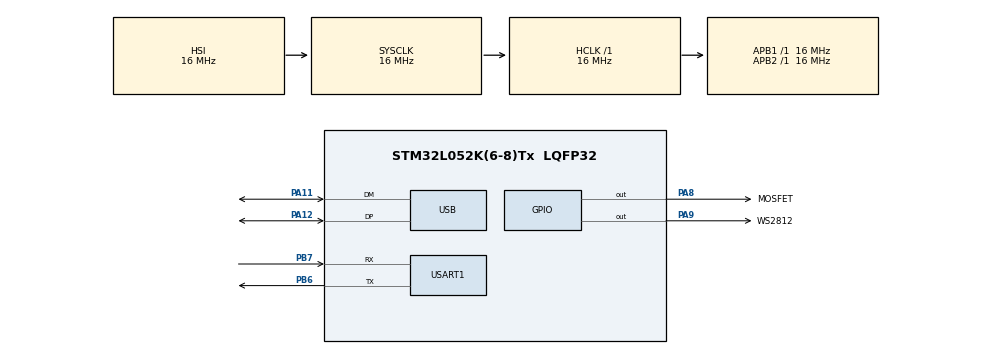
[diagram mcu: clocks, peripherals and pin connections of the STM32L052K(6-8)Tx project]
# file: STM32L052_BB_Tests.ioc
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Mcu.Family=STM32L0
Mcu.Name=STM32L052K(6-8)Tx
Mcu.Package=LQFP32
NVIC.USB_IRQn=true\:0\:0\:false\:false\:true
PA11.Mode=Device
PA11.Signal=USB_DM
PA12.Mode=Device
PA12.Signal=USB_DP
PA8.GPIO_Label=MOSFET
PA8.Signal=GPIO_Output
PA9.GPIO_Label=WS2812
PA9.Signal=GPIO_Output
PB6.Mode=Asynchronous
PB6.Signal=USART1_TX
PB7.Mode=Asynchronous
PB7.Signal=USART1_RX
PC14-OSC32_IN.Mode=LSE-External-Oscillator
PC14-OSC32_IN.Signal=RCC_OSC32_IN
PC15-OSC32_OUT.Mode=LSE-External-Oscillator
PC15-OSC32_OUT.Signal=RCC_OSC32_OUT
ProjectManager.HeapSize=0x200
ProjectManager.StackSize=0x400
ProjectManager.TargetToolchain=SW4STM32
RCC.AHBFreq_Value=16000000
RCC.APB1Freq_Value=16000000
RCC.APB1TimFreq_Value=16000000
RCC.APB2Freq_Value=16000000
RCC.APB2TimFreq_Value=16000000
RCC.HCLKFreq_Value=16000000
RCC.HSI16_VALUE=16000000
RCC.HSI48MClockSelection=RCC_USBCLKSOURCE_HSI48
RCC.HSI48_VALUE=48000000
RCC.HSI_VALUE=16000000
RCC.MSI_VALUE=2097000
RCC.PLLMUL=RCC_PLLMUL_4
RCC.PLLSourceVirtualString=RCC_PLLSOURCE_HSI
RCC.RTCClockSelection=RCC_RTCCLKSOURCE_LSE
RCC.RTCClockSelectionVirtual=RCC_RTCCLKSOURCE_LSE
RCC.SYSCLKFreq_VALUE=16000000
RCC.SYSCLKSource=RCC_SYSCLKSOURCE_HSI
RCC.VCOOutputFreq_Value=64000000
USART1.WordLength=UART_WORDLENGTH_8B
USB_DEVICE.MANUFACTURER_STRING=ioPush.net
USB_DEVICE.PRODUCT_STRING_HID_FS=MusicKeyboard
USB_DEVICE.USBD_HandleTypeDef=hUsbDeviceFS
USB_DEVICE.VirtualMode=Hid
USB_DEVICE.VirtualModeFS=Hid_FS
VP_RTC_VS_RTC_Activate.Mode=RTC_Enabled
VP_USB_DEVICE_VS_USB_DEVICE_HID_FS.Mode=HID_FS
board=STM32L052_BB_Tests

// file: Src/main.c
/**
  ******************************************************************************
  * File Name          : main.c
  * Description        : Main program body
  ******************************************************************************
  *
  * Copyright (c) 2016 STMicroelectronics International N.V.
  * All rights reserved.
  *
  * Redistribution and use in source and binary forms, with or without
  * modification, are permitted, provided that the following conditions are met:
  *
  * 1. Redistribution of source code must retain the above copyright notice,
  *    this list of conditions and the following disclaimer.
  * 2. Redistributions in binary form must reproduce the above copyright notice,
  *    this list of conditions and the following disclaimer in the documentation
  *    and/or other materials provided with the distribution.
  * 3. Neither the name of STMicroelectronics nor the names of other
  *    contributors to this software may be used to endorse or promote products
  *    derived from this software without specific written permission.
  * 4. This software, including modifications and/or derivative works of this
  *    software, must execute solely and exclusively on microcontroller or
  *    microprocessor devices manufactured by or for STMicroelectronics.
  * 5. Redistribution and use of this software other than as permitted under
  *    this license is void and will automatically terminate your rights under
  *    this license.
  *
  * THIS SOFTWARE IS PROVIDED BY STMICROELECTRONICS AND CONTRIBUTORS "AS IS"
  * AND ANY EXPRESS, IMPLIED OR STATUTORY WARRANTIES, INCLUDING, BUT NOT
  * LIMITED TO, THE IMPLIED WARRANTIES OF MERCHANTABILITY, FITNESS FOR A
  * PARTICULAR PURPOSE AND NON-INFRINGEMENT OF THIRD PARTY INTELLECTUAL PROPERTY
  * RIGHTS ARE DISCLAIMED TO THE FULLEST EXTENT PERMITTED BY LAW. IN NO EVENT
  * SHALL STMICROELECTRONICS OR CONTRIBUTORS BE LIABLE FOR ANY DIRECT, INDIRECT,
  * INCIDENTAL, SPECIAL, EXEMPLARY, OR CONSEQUENTIAL DAMAGES (INCLUDING, BUT NOT
  * LIMITED TO, PROCUREMENT OF SUBSTITUTE GOODS OR SERVICES; LOSS OF USE, DATA,
  * OR PROFITS; OR BUSINESS INTERRUPTION) HOWEVER CAUSED AND ON ANY THEORY OF
  * LIABILITY, WHETHER IN CONTRACT, STRICT LIABILITY, OR TORT (INCLUDING
  * NEGLIGENCE OR OTHERWISE) ARISING IN ANY WAY OUT OF THE USE OF THIS SOFTWARE,
  * EVEN IF ADVISED OF THE POSSIBILITY OF SUCH DAMAGE.
  *
  ******************************************************************************
  */
#include "main.h"
#include "stm32l0xx_hal.h"
#include "rtc.h"
#include "usart.h"
#include "usb_device.h"
#include "gpio.h"

/* USER CODE BEGIN PV */
/* Private variables ---------------------------------------------------------*/

/* USER CODE END PV */

void SystemClock_Config(void);
void Error_Handler(void);

/* USER CODE BEGIN PFP */
/* Private function prototypes -----------------------------------------------*/

/* USER CODE END PFP */

int main(void)
{

  /* USER CODE BEGIN 1 */
  RTC_TimeTypeDef sTime;
  RTC_DateTypeDef sDate;

  // WS2812
  uint8_t green[] = {0x1F, 0x00, 0x00};
  uint8_t red[]   = {0x00, 0x1F, 0x00};
  uint8_t blue[]  = {0x00, 0x00, 0x1F};
  uint8_t black[] = {0x00, 0x00, 0x00};
  //uint8_t colors[3][3] = { {0x1F, 0x00, 0x00}, {0x00, 0x1F, 0x00}, {0x00, 0x00, 0x1F} };
  uint8_t *colors[] = { green, red, blue };
  uint8_t colorsIndex = 0;

  // HID Keyboard
  struct keyboardHID_t {
      uint8_t id;
      uint8_t modifiers;
      uint8_t key1;
      uint8_t key2;
      uint8_t key3;
  };
  struct keyboardHID_t keyboardHID;
  keyboardHID.id = 1;
  keyboardHID.modifiers = 0;
  keyboardHID.key1 = 0;
  keyboardHID.key2 = 0;
  keyboardHID.key3 = 0;
  // HID Media
  struct mediaHID_t {
    uint8_t id;
    uint8_t keys;
  };
  struct mediaHID_t mediaHID;
  mediaHID.id = 2;
  mediaHID.keys = 0;

  /* USER CODE END 1 */

  /* MCU Configuration----------------------------------------------------------*/

  /* Reset of all peripherals, Initializes the Flash interface and the Systick. */
  HAL_Init();

  /* Configure the system clock */
  SystemClock_Config();

  /* Initialize all configured peripherals */
  MX_GPIO_Init();
  MX_RTC_Init();
  MX_USART1_UART_Init();
  MX_USB_DEVICE_Init();

  /* USER CODE BEGIN 2 */
  HAL_printf("Starting STM32L052_BB_Tests\n");

  // RTC settings
  sTime.Hours = 0;
  sTime.Minutes = 12;
  sTime.Seconds = 0;
  sTime.DayLightSaving = RTC_DAYLIGHTSAVING_NONE;
  sTime.StoreOperation = RTC_STOREOPERATION_RESET;
  sDate.WeekDay = RTC_WEEKDAY_TUESDAY;
  sDate.Month = RTC_MONTH_NOVEMBER;
  sDate.Date = 29;
  sDate.Year = 16;
  if (HAL_RTC_SetTime(&hrtc, &sTime, RTC_FORMAT_BIN) != HAL_OK) {
    Error_Handler();
  }
  if (HAL_RTC_SetDate(&hrtc, &sDate, RTC_FORMAT_BIN) != HAL_OK) {
    Error_Handler();
  }

  /* USER CODE END 2 */

  /* Infinite loop */
  while (1)
  {

  /* USER CODE BEGIN 3 */
    // RTC
    HAL_RTC_GetTime(&hrtc, &sTime, RTC_FORMAT_BIN);
    HAL_RTC_GetDate(&hrtc, &sDate, RTC_FORMAT_BIN);
    HAL_printf("Date : %02d/%02d/20%02d %02d:%02d:%02d\n", sDate.Date, sDate.Month, sDate.Year, sTime.Hours, sTime.Minutes, sTime.Seconds);

    HAL_printf("\n");
    HAL_GPIO_TogglePin(MOSFET_GPIO_Port, MOSFET_Pin);
    ws2812_sendarray(colors[colorsIndex], 3);
    colorsIndex = (colorsIndex+1) % 3;
    HAL_Delay(1000);

    // Send HID report
    mediaHID.keys = USB_HID_VOL_DEC;
    USBD_HID_SendReport(&hUsbDeviceFS, &mediaHID, sizeof(struct mediaHID_t));
    HAL_Delay(30);
    mediaHID.keys = 0;
    USBD_HID_SendReport(&hUsbDeviceFS, &mediaHID, sizeof(struct mediaHID_t));
    HAL_Delay(30);

    keyboardHID.modifiers = USB_HID_MODIFIER_RIGHT_SHIFT;
    keyboardHID.key1 = USB_HID_KEY_L;
    USBD_HID_SendReport(&hUsbDeviceFS, &keyboardHID, sizeof(struct keyboardHID_t));
    HAL_Delay(30);
    keyboardHID.modifiers = 0;
    keyboardHID.key1 = 0;
    USBD_HID_SendReport(&hUsbDeviceFS, &keyboardHID, sizeof(struct keyboardHID_t));
  }
  /* USER CODE END 3 */

}

/** System Clock Configuration
*/
void SystemClock_Config(void)
{

  RCC_OscInitTypeDef RCC_OscInitStruct;
  RCC_ClkInitTypeDef RCC_ClkInitStruct;
  RCC_PeriphCLKInitTypeDef PeriphClkInit;

    /**Configure the main internal regulator output voltage
    */
  __HAL_PWR_VOLTAGESCALING_CONFIG(PWR_REGULATOR_VOLTAGE_SCALE1);

    /**Initializes the CPU, AHB and APB busses clocks
    */
  RCC_OscInitStruct.OscillatorType = RCC_OSCILLATORTYPE_HSI|RCC_OSCILLATORTYPE_LSE
                              |RCC_OSCILLATORTYPE_HSI48;
  RCC_OscInitStruct.LSEState = RCC_LSE_ON;
  RCC_OscInitStruct.HSIState = RCC_HSI_ON;
  RCC_OscInitStruct.HSICalibrationValue = 16;
  RCC_OscInitStruct.HSI48State = RCC_HSI48_ON;
  RCC_OscInitStruct.PLL.PLLState = RCC_PLL_NONE;
  if (HAL_RCC_OscConfig(&RCC_OscInitStruct) != HAL_OK)
  {
    Error_Handler();
  }

    /**Initializes the CPU, AHB and APB busses clocks
    */
  RCC_ClkInitStruct.ClockType = RCC_CLOCKTYPE_HCLK|RCC_CLOCKTYPE_SYSCLK
                              |RCC_CLOCKTYPE_PCLK1|RCC_CLOCKTYPE_PCLK2;
  RCC_ClkInitStruct.SYSCLKSource = RCC_SYSCLKSOURCE_HSI;
  RCC_ClkInitStruct.AHBCLKDivider = RCC_SYSCLK_DIV1;
  RCC_ClkInitStruct.APB1CLKDivider = RCC_HCLK_DIV1;
  RCC_ClkInitStruct.APB2CLKDivider = RCC_HCLK_DIV1;

  if (HAL_RCC_ClockConfig(&RCC_ClkInitStruct, FLASH_LATENCY_0) != HAL_OK)
  {
    Error_Handler();
  }

  PeriphClkInit.PeriphClockSelection = RCC_PERIPHCLK_USART1|RCC_PERIPHCLK_RTC
                              |RCC_PERIPHCLK_USB;
  PeriphClkInit.Usart1ClockSelection = RCC_USART1CLKSOURCE_PCLK2;
  PeriphClkInit.RTCClockSelection = RCC_RTCCLKSOURCE_LSE;
  PeriphClkInit.UsbClockSelection = RCC_USBCLKSOURCE_HSI48;
  if (HAL_RCCEx_PeriphCLKConfig(&PeriphClkInit) != HAL_OK)
  {
    Error_Handler();
  }

    /**Configure the Systick interrupt time
    */
  HAL_SYSTICK_Config(HAL_RCC_GetHCLKFreq()/1000);

    /**Configure the Systick
    */
  HAL_SYSTICK_CLKSourceConfig(SYSTICK_CLKSOURCE_HCLK);

  /* SysTick_IRQn interrupt configuration */
  HAL_NVIC_SetPriority(SysTick_IRQn, 0, 0);
}

void Error_Handler(void)
{
  while(1)
  {
  }
}

/************************ (C) COPYRIGHT STMicroelectronics *****END OF FILE****/
